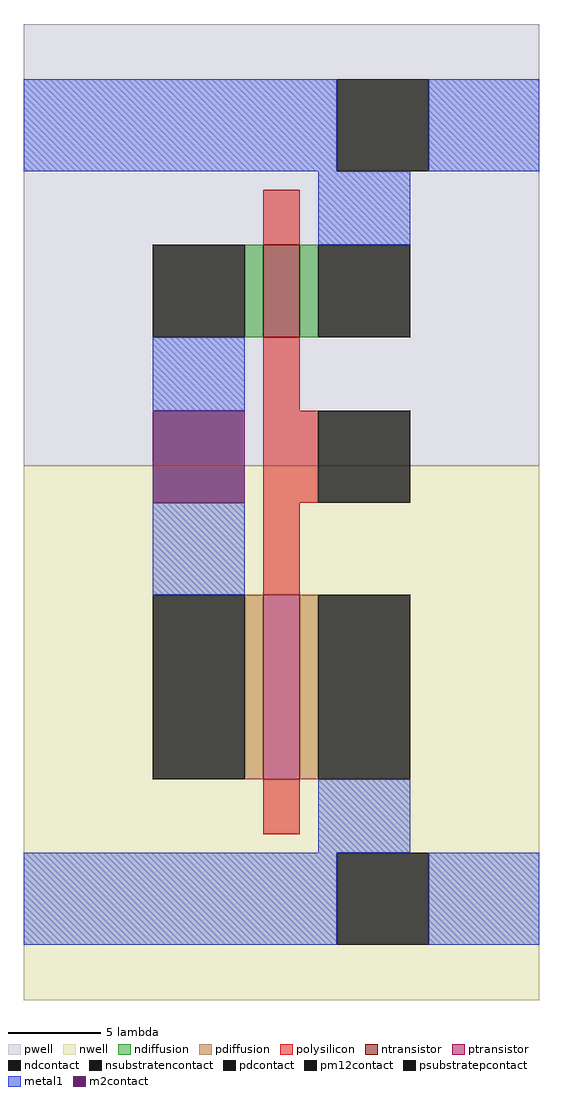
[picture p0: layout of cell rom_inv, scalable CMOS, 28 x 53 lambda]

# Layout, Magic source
magic
tech scmos
<< nwell >>
rect -11 -13 17 16
<< pwell >>
rect -11 16 17 40
<< ntransistor >>
rect 2 23 4 28
<< ptransistor >>
rect 2 -1 4 9
<< ndiffusion >>
rect 1 23 2 28
rect 4 23 5 28
<< pdiffusion >>
rect 1 -1 2 9
rect 4 -1 5 9
<< ndcontact >>
rect -4 23 1 28
rect 5 23 10 28
<< pdcontact >>
rect -4 -1 1 9
rect 5 -1 10 9
<< psubstratepcontact >>
rect 6 32 11 37
<< nsubstratencontact >>
rect 6 -10 11 -5
<< polysilicon >>
rect 2 28 4 31
rect 2 19 4 23
rect 2 14 5 19
rect 2 9 4 14
rect 2 -4 4 -1
<< metal1 >>
rect -11 32 6 37
rect 11 32 17 37
rect 5 28 10 32
rect -4 19 1 23
rect -4 9 1 14
rect 5 -5 10 -1
rect -11 -10 6 -5
rect 11 -10 17 -5
<< m2contact >>
rect -4 14 1 19
<< pm12contact >>
rect 5 14 10 19
<< end >>
